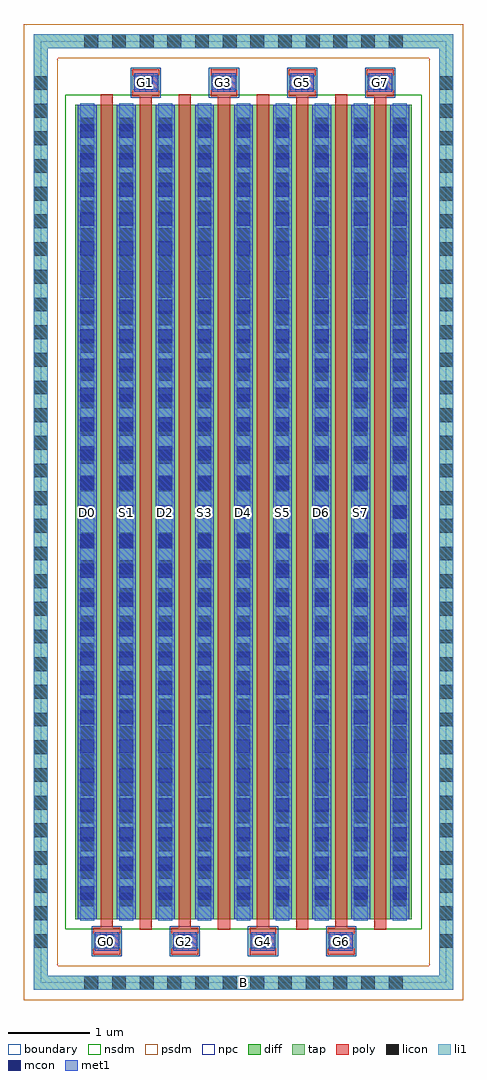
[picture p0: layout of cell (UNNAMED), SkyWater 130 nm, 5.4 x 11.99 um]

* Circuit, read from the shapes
.subckt (UNNAMED) B D0 D2 D4 D6 G0 G1 G2 G3 G4 G5 G6 G7 S1 S3 S5 S7
XM1 S1 G0 D0 B sky130_fd_pr__nfet_01v8 w=10 l=0.15
XM2 D2 G1 S1 B sky130_fd_pr__nfet_01v8 w=10 l=0.15
XM3 S3 G2 D2 B sky130_fd_pr__nfet_01v8 w=10 l=0.15
XM4 D4 G3 S3 B sky130_fd_pr__nfet_01v8 w=10 l=0.15
XM5 S5 G4 D4 B sky130_fd_pr__nfet_01v8 w=10 l=0.15
XM6 D6 G5 S5 B sky130_fd_pr__nfet_01v8 w=10 l=0.15
XM7 S7 G6 D6 B sky130_fd_pr__nfet_01v8 w=10 l=0.15
XM8 n1 G7 S7 B sky130_fd_pr__nfet_01v8 w=10 l=0.15
.ends

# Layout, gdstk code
import gdstk
lib = gdstk.Library(unit=1e-6, precision=1e-09)
def R(c, l, rs):  # rectangles x0, y0, x1, y1
    for r in rs: c.add(gdstk.rectangle(r[:2], r[2:], *l))
def A(c, l, x, y, w, h, nx, ny, dx, dy):  # array of equal rectangles
    R(c, l, [(x+i*dx, y+j*dy, x+i*dx+w, y+j*dy+h) for i in range(nx) for j in range(ny)])
diff = (65, 20)
tap = (65, 44)
poly = (66, 20)
licon = (66, 44)
li1 = (67, 20)
mcon = (67, 44)
met1 = (68, 20)
nsdm = (93, 44)
psdm = (94, 20)
npc = (95, 20)
boundary = (235, 4)

c__unnamed_ = lib.new_cell('(UNNAMED)')
R(c__unnamed_, diff, [(-2.065,-5,2.065,5)])
R(c__unnamed_, tap, [(-2.575,-5.87,2.575,-5.7), (-2.575,-5.7,-2.405,5.7), (2.405,-5.7,2.575,5.7), (-2.575,5.7,2.575,5.87)])
A(c__unnamed_, poly, -1.845, -5.44, 0.33, 0.33, 4, 1, 0.96, 0)
A(c__unnamed_, poly, -1.275, -5.13, 0.15, 10.24, 4, 1, 0.96, 0)
A(c__unnamed_, poly, -1.755, -5.11, 0.15, 10.24, 4, 1, 0.96, 0)
A(c__unnamed_, poly, -1.365, 5.11, 0.33, 0.33, 4, 1, 0.96, 0)
A(c__unnamed_, licon, -1.955, -5.87, 0.17, 0.17, 12, 2, 0.34, 11.57)
A(c__unnamed_, licon, -1.765, -5.36, 0.17, 0.17, 4, 1, 0.96, 0)
A(c__unnamed_, licon, -2.575, -5.355, 0.17, 0.17, 1, 32, 0, 0.34)
A(c__unnamed_, licon, 2.405, -5.355, 0.17, 0.17, 1, 32, 0, 0.34)
A(c__unnamed_, licon, -2.005, -4.845, 0.17, 0.17, 9, 29, 0.48, 0.34)
A(c__unnamed_, licon, -1.285, 5.19, 0.17, 0.17, 4, 1, 0.96, 0)
A(c__unnamed_, li1, -1.845, -5.36, 0.33, 0.17, 4, 1, 0.96, 0)
A(c__unnamed_, li1, -2.005, -5.02, 0.17, 10.04, 9, 1, 0.48, 0)
A(c__unnamed_, li1, -1.365, 5.19, 0.33, 0.17, 4, 1, 0.96, 0)
R(c__unnamed_, li1, [(-2.575,-5.87,2.575,-5.7), (-2.575,-5.7,-2.405,5.7), (2.405,-5.7,2.575,5.7), (-2.575,5.7,2.575,5.87)])
A(c__unnamed_, mcon, -1.765, -5.36, 0.17, 0.17, 4, 1, 0.96, 0)
A(c__unnamed_, mcon, -2.005, -4.765, 0.17, 0.17, 9, 27, 0.48, 0.36)
A(c__unnamed_, mcon, -1.285, 5.19, 0.17, 0.17, 4, 1, 0.96, 0)
A(c__unnamed_, met1, -1.825, -5.39, 0.29, 0.23, 4, 1, 0.96, 0)
A(c__unnamed_, met1, -2.035, -5, 0.23, 10, 9, 1, 0.48, 0)
A(c__unnamed_, met1, -1.345, 5.16, 0.29, 0.23, 4, 1, 0.96, 0)
R(c__unnamed_, nsdm, [(-2.19,-5.125,2.19,5.125)])
R(c__unnamed_, psdm, [(-2.7,-5.995,2.7,-5.575), (-2.7,-5.575,-2.28,5.575), (2.28,-5.575,2.7,5.575), (-2.7,5.575,2.7,5.995)])
A(c__unnamed_, npc, -1.865, -5.46, 0.37, 0.37, 4, 1, 0.96, 0)
A(c__unnamed_, npc, -1.385, 5.09, 0.37, 0.37, 4, 1, 0.96, 0)
R(c__unnamed_, boundary, [(-2.49,-5.785,2.49,5.785)])
c__unnamed_.add(gdstk.Label('B', (0,-5.785), layer=67, texttype=5))
c__unnamed_.add(gdstk.Label('D0', (-1.92,0), layer=67, texttype=5))
c__unnamed_.add(gdstk.Label('G0', (-1.68,-5.275), layer=67, texttype=5))
c__unnamed_.add(gdstk.Label('S1', (-1.44,0), layer=67, texttype=5))
c__unnamed_.add(gdstk.Label('G1', (-1.2,5.275), layer=67, texttype=5))
c__unnamed_.add(gdstk.Label('D2', (-0.96,0), layer=67, texttype=5))
c__unnamed_.add(gdstk.Label('G2', (-0.72,-5.275), layer=67, texttype=5))
c__unnamed_.add(gdstk.Label('S3', (-0.48,0), layer=67, texttype=5))
c__unnamed_.add(gdstk.Label('G3', (-0.24,5.275), layer=67, texttype=5))
c__unnamed_.add(gdstk.Label('D4', (0,0), layer=67, texttype=5))
c__unnamed_.add(gdstk.Label('G4', (0.24,-5.275), layer=67, texttype=5))
c__unnamed_.add(gdstk.Label('S5', (0.48,0), layer=67, texttype=5))
c__unnamed_.add(gdstk.Label('G5', (0.72,5.275), layer=67, texttype=5))
c__unnamed_.add(gdstk.Label('D6', (0.96,0), layer=67, texttype=5))
c__unnamed_.add(gdstk.Label('G6', (1.2,-5.275), layer=67, texttype=5))
c__unnamed_.add(gdstk.Label('S7', (1.44,0), layer=67, texttype=5))
c__unnamed_.add(gdstk.Label('G7', (1.68,5.275), layer=67, texttype=5))

lib.write_gds('_UNNAMED_.gds')
